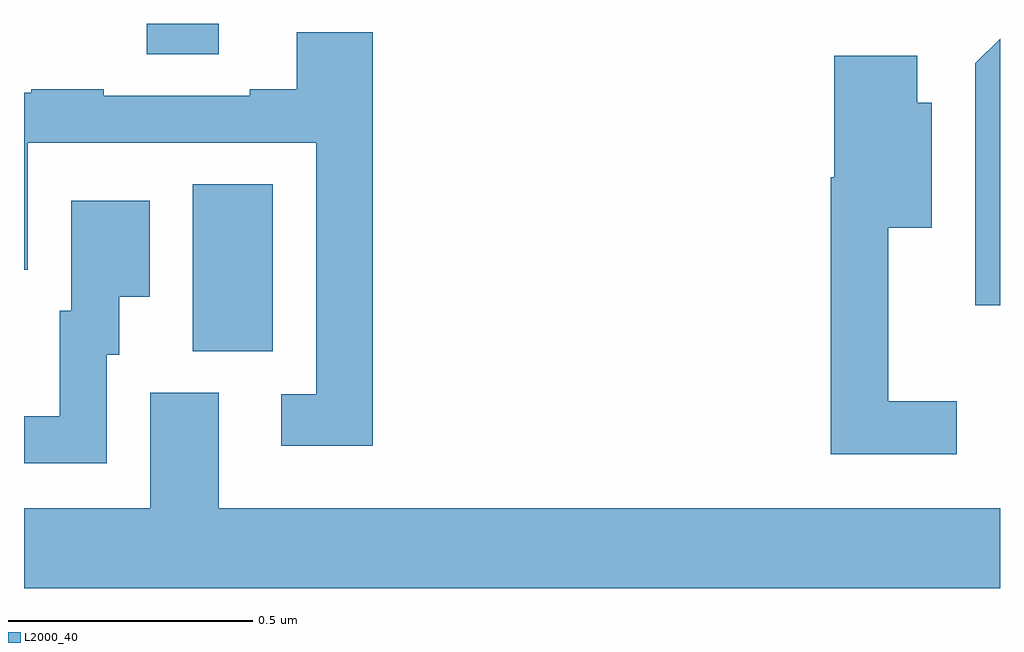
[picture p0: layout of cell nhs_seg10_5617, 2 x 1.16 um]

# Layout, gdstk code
import gdstk
lib = gdstk.Library(unit=1e-6, precision=1e-09)
def R(c, l, rs):  # rectangles x0, y0, x1, y1
    for r in rs: c.add(gdstk.rectangle(r[:2], r[2:], *l))
def P(c, l, *ps):  # polygons
    for p in ps: c.add(gdstk.Polygon(p, *l))
L2000_40 = (2000, 40)

nhs_seg10_5617 = lib.new_cell('nhs_seg10_5617')
R(nhs_seg10_5617, L2000_40, [(181.346,1272.829,181.51,1273.172), (181.252,1273.438,181.399,1273.5)])
P(nhs_seg10_5617, L2000_40, [(181.715,1273.483),(181.559,1273.483),(181.559,1273.366),(181.463,1273.366),(181.463,1273.353),(181.163,1273.353),(181.163,1273.366),(181.015,1273.366),(181.015,1273.359),(181,1273.359),(181,1272.996),(181.008,1272.996),(181.008,1273.257),(181.599,1273.257),(181.599,1272.741),(181.527,1272.741),(181.527,1272.636),(181.715,1272.636)],
  [(183,1273.47),(182.949,1273.419),(182.949,1272.924),(183,1272.924)],
  [(182.911,1272.727),(182.771,1272.727),(182.771,1273.082),(182.86,1273.082),(182.86,1273.339),(182.83,1273.339),(182.83,1273.435),(182.66,1273.435),(182.66,1273.186),(182.653,1273.186),(182.653,1272.618),(182.911,1272.618)],
  [(181.17,1272.822),(181.195,1272.822),(181.195,1272.941),(181.258,1272.941),(181.258,1273.138),(181.097,1273.138),(181.097,1272.912),(181.073,1272.912),(181.073,1272.696),(181,1272.696),(181,1272.6),(181.17,1272.6)],
  [(183,1272.508),(181.399,1272.508),(181.399,1272.744),(181.259,1272.744),(181.259,1272.508),(181,1272.508),(181,1272.344),(183,1272.344)])

lib.write_gds('nhs_seg10_5617.gds')
